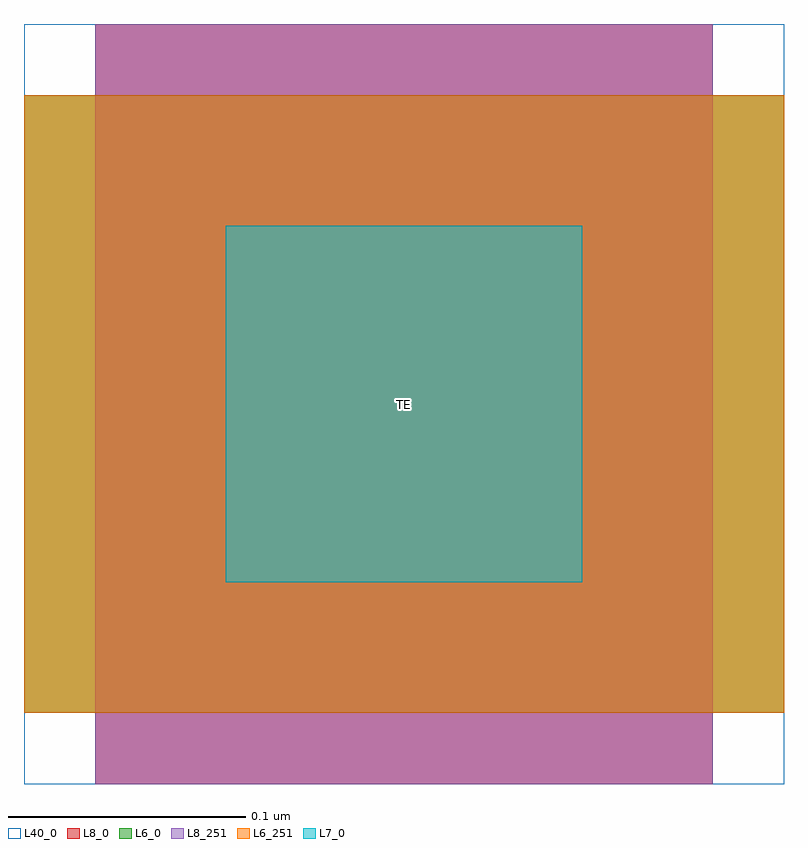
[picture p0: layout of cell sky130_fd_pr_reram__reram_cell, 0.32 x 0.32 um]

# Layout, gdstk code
import gdstk
lib = gdstk.Library(unit=1e-6, precision=1e-09)
def R(c, l, rs):  # rectangles x0, y0, x1, y1
    for r in rs: c.add(gdstk.rectangle(r[:2], r[2:], *l))
L6_0 = (6, 0)
L6_251 = (6, 251)
L7_0 = (7, 0)
L8_0 = (8, 0)
L8_251 = (8, 251)
L40_0 = (40, 0)

sky130_fd_pr_reram__rera = lib.new_cell('sky130_fd_pr_reram__reram_cell')
R(sky130_fd_pr_reram__rera, L6_0, [(-0.16,-0.13,0.16,0.13)])
R(sky130_fd_pr_reram__rera, L6_251, [(-0.16,-0.13,0.16,0.13)])
R(sky130_fd_pr_reram__rera, L7_0, [(-0.075,-0.075,0.075,0.075)])
R(sky130_fd_pr_reram__rera, L8_0, [(-0.13,-0.16,0.13,0.16)])
R(sky130_fd_pr_reram__rera, L8_251, [(-0.13,-0.16,0.13,0.16)])
R(sky130_fd_pr_reram__rera, L40_0, [(-0.16,-0.16,0.16,0.16)])
sky130_fd_pr_reram__rera.add(gdstk.Label('TE', (0,0), layer=8, texttype=237))
sky130_fd_pr_reram__rera.add(gdstk.Label('BE', (0,0), layer=6, texttype=237))

lib.write_gds('sky130_fd_pr_reram__reram_cell.gds')
